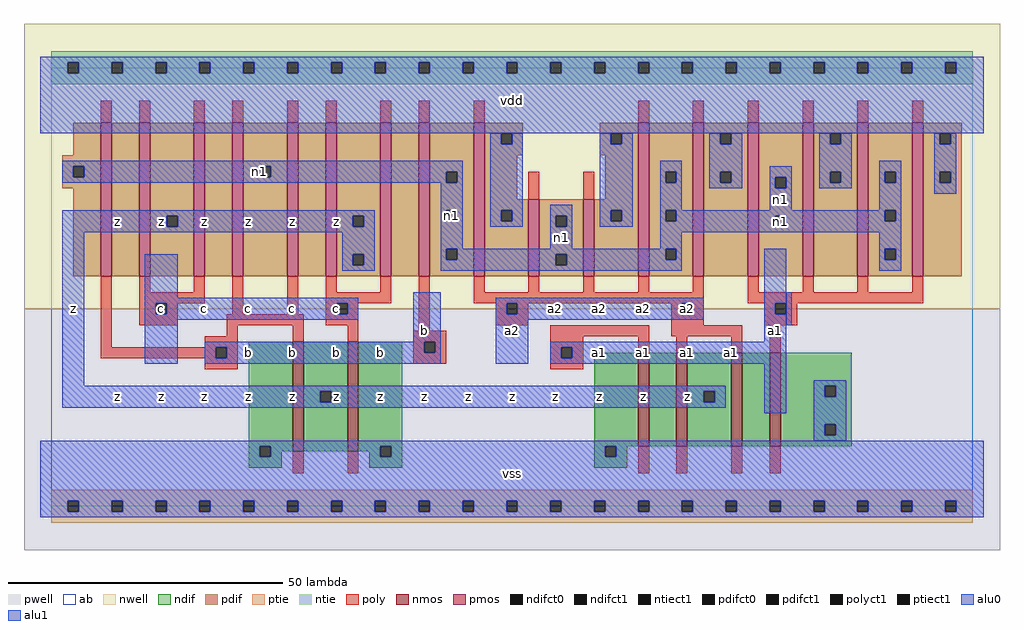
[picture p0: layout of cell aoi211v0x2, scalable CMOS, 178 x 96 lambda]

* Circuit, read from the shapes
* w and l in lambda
.subckt aoi211v0x2 a1 a2 b c n1 vdd vss z
M1 z b vss vss nfet w=20 l=2
M2 vss c z vss nfet w=20 l=2
M3 n2 a1 vss vss nfet w=17 l=2
M4 z a2 n2 vss nfet w=17 l=2
M5 n3 a2 z vss nfet w=17 l=2
M6 vss a1 n3 vss nfet w=17 l=2
M7 n4 b n1 vdd pfet w=28 l=2
M8 z c n4 vdd pfet w=28 l=2
M9 n5 c z vdd pfet w=28 l=2
M10 n1 b n5 vdd pfet w=28 l=2
M11 n6 b n1 vdd pfet w=28 l=2
M12 z c n6 vdd pfet w=28 l=2
M13 n7 c z vdd pfet w=28 l=2
M14 n1 b n7 vdd pfet w=28 l=2
M15 vdd a2 n1 vdd pfet w=28 l=2 m=3
M16 n1 a2 vdd vdd pfet w=14 l=2 m=2
M17 n1 a1 vdd vdd pfet w=28 l=2 m=4
.ends

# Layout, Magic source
magic
tech scmos
<< ab >>
rect 0 0 168 80
<< nwell >>
rect -5 36 173 88
<< pwell >>
rect -5 -8 173 36
<< poly >>
rect 9 70 11 74
rect 16 70 18 74
rect 26 70 28 74
rect 33 70 35 74
rect 43 70 45 74
rect 50 70 52 74
rect 60 70 62 74
rect 67 70 69 74
rect 77 70 79 74
rect 107 70 109 74
rect 117 70 119 74
rect 127 70 129 74
rect 137 70 139 74
rect 147 70 149 74
rect 157 70 159 74
rect 87 56 89 61
rect 97 56 99 61
rect 9 29 11 42
rect 16 39 18 42
rect 26 39 28 42
rect 16 37 28 39
rect 16 35 19 37
rect 21 35 23 37
rect 33 35 35 42
rect 43 35 45 42
rect 50 39 52 42
rect 60 39 62 42
rect 50 37 62 39
rect 50 35 52 37
rect 54 35 56 37
rect 16 33 23 35
rect 32 33 46 35
rect 50 33 56 35
rect 32 31 34 33
rect 28 29 34 31
rect 44 30 46 33
rect 54 30 56 33
rect 67 32 69 42
rect 77 39 79 42
rect 87 39 89 42
rect 97 39 99 42
rect 107 39 109 42
rect 117 39 119 42
rect 77 37 119 39
rect 127 39 129 42
rect 137 39 139 42
rect 147 39 149 42
rect 157 39 159 42
rect 127 37 159 39
rect 81 35 83 37
rect 85 35 87 37
rect 81 33 87 35
rect 113 35 115 37
rect 117 35 119 37
rect 113 33 119 35
rect 130 35 132 37
rect 134 35 136 37
rect 130 33 136 35
rect 66 30 72 32
rect 9 27 30 29
rect 32 27 34 29
rect 28 25 34 27
rect 66 28 68 30
rect 70 28 72 30
rect 66 26 72 28
rect 91 31 109 33
rect 113 31 126 33
rect 91 29 97 31
rect 91 27 93 29
rect 95 27 97 29
rect 107 28 109 31
rect 114 28 116 31
rect 124 28 126 31
rect 131 28 133 33
rect 91 25 97 27
rect 44 6 46 10
rect 54 6 56 10
rect 107 6 109 11
rect 114 6 116 11
rect 124 6 126 11
rect 131 6 133 11
<< ndif >>
rect 36 11 44 30
rect 36 9 38 11
rect 40 10 44 11
rect 46 21 54 30
rect 46 19 49 21
rect 51 19 54 21
rect 46 10 54 19
rect 56 11 64 30
rect 56 10 60 11
rect 40 9 42 10
rect 36 7 42 9
rect 58 9 60 10
rect 62 9 64 11
rect 58 7 64 9
rect 99 11 107 28
rect 109 11 114 28
rect 116 21 124 28
rect 116 19 119 21
rect 121 19 124 21
rect 116 11 124 19
rect 126 11 131 28
rect 133 22 146 28
rect 133 20 141 22
rect 143 20 146 22
rect 133 15 146 20
rect 133 13 141 15
rect 143 13 146 15
rect 133 11 146 13
rect 99 9 101 11
rect 103 9 105 11
rect 99 7 105 9
<< pdif >>
rect 4 64 9 70
rect 2 62 9 64
rect 2 60 4 62
rect 6 60 9 62
rect 2 58 9 60
rect 4 42 9 58
rect 11 42 16 70
rect 18 53 26 70
rect 18 51 21 53
rect 23 51 26 53
rect 18 42 26 51
rect 28 42 33 70
rect 35 62 43 70
rect 35 60 38 62
rect 40 60 43 62
rect 35 42 43 60
rect 45 42 50 70
rect 52 53 60 70
rect 52 51 55 53
rect 57 51 60 53
rect 52 46 60 51
rect 52 44 55 46
rect 57 44 60 46
rect 52 42 60 44
rect 62 42 67 70
rect 69 61 77 70
rect 69 59 72 61
rect 74 59 77 61
rect 69 54 77 59
rect 69 52 72 54
rect 74 52 77 54
rect 69 47 77 52
rect 69 45 72 47
rect 74 45 77 47
rect 69 42 77 45
rect 79 68 86 70
rect 79 66 82 68
rect 84 66 86 68
rect 79 64 86 66
rect 100 68 107 70
rect 100 66 102 68
rect 104 66 107 68
rect 100 64 107 66
rect 79 56 85 64
rect 101 56 107 64
rect 79 54 87 56
rect 79 52 82 54
rect 84 52 87 54
rect 79 42 87 52
rect 89 53 97 56
rect 89 51 92 53
rect 94 51 97 53
rect 89 46 97 51
rect 89 44 92 46
rect 94 44 97 46
rect 89 42 97 44
rect 99 54 107 56
rect 99 52 102 54
rect 104 52 107 54
rect 99 42 107 52
rect 109 61 117 70
rect 109 59 112 61
rect 114 59 117 61
rect 109 54 117 59
rect 109 52 112 54
rect 114 52 117 54
rect 109 47 117 52
rect 109 45 112 47
rect 114 45 117 47
rect 109 42 117 45
rect 119 68 127 70
rect 119 66 122 68
rect 124 66 127 68
rect 119 61 127 66
rect 119 59 122 61
rect 124 59 127 61
rect 119 42 127 59
rect 129 60 137 70
rect 129 58 132 60
rect 134 58 137 60
rect 129 53 137 58
rect 129 51 132 53
rect 134 51 137 53
rect 129 42 137 51
rect 139 68 147 70
rect 139 66 142 68
rect 144 66 147 68
rect 139 61 147 66
rect 139 59 142 61
rect 144 59 147 61
rect 139 42 147 59
rect 149 61 157 70
rect 149 59 152 61
rect 154 59 157 61
rect 149 54 157 59
rect 149 52 152 54
rect 154 52 157 54
rect 149 47 157 52
rect 149 45 152 47
rect 154 45 157 47
rect 149 42 157 45
rect 159 68 166 70
rect 159 66 162 68
rect 164 66 166 68
rect 159 61 166 66
rect 159 59 162 61
rect 164 59 166 61
rect 159 42 166 59
<< alu1 >>
rect -2 81 170 82
rect -2 79 3 81
rect 5 79 11 81
rect 13 79 19 81
rect 21 79 27 81
rect 29 79 35 81
rect 37 79 43 81
rect 45 79 51 81
rect 53 79 59 81
rect 61 79 67 81
rect 69 79 75 81
rect 77 79 83 81
rect 85 79 91 81
rect 93 79 99 81
rect 101 79 107 81
rect 109 79 115 81
rect 117 79 123 81
rect 125 79 131 81
rect 133 79 139 81
rect 141 79 147 81
rect 149 79 155 81
rect 157 79 163 81
rect 165 79 170 81
rect -2 68 170 79
rect 2 53 59 54
rect 2 51 21 53
rect 23 51 55 53
rect 57 51 59 53
rect 2 50 59 51
rect 2 22 6 50
rect 53 46 59 50
rect 17 38 23 46
rect 53 44 55 46
rect 57 44 59 46
rect 53 43 59 44
rect 17 37 56 38
rect 17 35 19 37
rect 21 35 52 37
rect 54 35 56 37
rect 17 34 56 35
rect 17 26 23 34
rect 66 30 71 39
rect 28 29 68 30
rect 28 27 30 29
rect 32 28 68 29
rect 70 28 71 30
rect 32 27 71 28
rect 28 26 71 27
rect 81 37 119 38
rect 81 35 83 37
rect 85 35 115 37
rect 117 35 119 37
rect 81 34 119 35
rect 130 37 134 47
rect 130 35 132 37
rect 81 26 87 34
rect 130 30 134 35
rect 91 29 134 30
rect 91 27 93 29
rect 95 27 134 29
rect 91 26 134 27
rect 2 21 123 22
rect 2 19 49 21
rect 51 19 119 21
rect 121 19 123 21
rect 2 18 123 19
rect 130 17 134 26
rect -2 11 170 12
rect -2 9 38 11
rect 40 9 60 11
rect 62 9 101 11
rect 103 9 170 11
rect -2 1 170 9
rect -2 -1 3 1
rect 5 -1 11 1
rect 13 -1 19 1
rect 21 -1 27 1
rect 29 -1 35 1
rect 37 -1 43 1
rect 45 -1 51 1
rect 53 -1 59 1
rect 61 -1 67 1
rect 69 -1 75 1
rect 77 -1 83 1
rect 85 -1 91 1
rect 93 -1 99 1
rect 101 -1 107 1
rect 109 -1 115 1
rect 117 -1 123 1
rect 125 -1 131 1
rect 133 -1 139 1
rect 141 -1 147 1
rect 149 -1 155 1
rect 157 -1 163 1
rect 165 -1 170 1
rect -2 -2 170 -1
<< ptie >>
rect 0 1 168 3
rect 0 -1 3 1
rect 5 -1 11 1
rect 13 -1 19 1
rect 21 -1 27 1
rect 29 -1 35 1
rect 37 -1 43 1
rect 45 -1 51 1
rect 53 -1 59 1
rect 61 -1 67 1
rect 69 -1 75 1
rect 77 -1 83 1
rect 85 -1 91 1
rect 93 -1 99 1
rect 101 -1 107 1
rect 109 -1 115 1
rect 117 -1 123 1
rect 125 -1 131 1
rect 133 -1 139 1
rect 141 -1 147 1
rect 149 -1 155 1
rect 157 -1 163 1
rect 165 -1 168 1
rect 0 -3 168 -1
<< ntie >>
rect 0 81 168 83
rect 0 79 3 81
rect 5 79 11 81
rect 13 79 19 81
rect 21 79 27 81
rect 29 79 35 81
rect 37 79 43 81
rect 45 79 51 81
rect 53 79 59 81
rect 61 79 67 81
rect 69 79 75 81
rect 77 79 83 81
rect 85 79 91 81
rect 93 79 99 81
rect 101 79 107 81
rect 109 79 115 81
rect 117 79 123 81
rect 125 79 131 81
rect 133 79 139 81
rect 141 79 147 81
rect 149 79 155 81
rect 157 79 163 81
rect 165 79 168 81
rect 0 77 168 79
<< nmos >>
rect 44 10 46 30
rect 54 10 56 30
rect 107 11 109 28
rect 114 11 116 28
rect 124 11 126 28
rect 131 11 133 28
<< pmos >>
rect 9 42 11 70
rect 16 42 18 70
rect 26 42 28 70
rect 33 42 35 70
rect 43 42 45 70
rect 50 42 52 70
rect 60 42 62 70
rect 67 42 69 70
rect 77 42 79 70
rect 87 42 89 56
rect 97 42 99 56
rect 107 42 109 70
rect 117 42 119 70
rect 127 42 129 70
rect 137 42 139 70
rect 147 42 149 70
rect 157 42 159 70
<< polyct1 >>
rect 19 35 21 37
rect 52 35 54 37
rect 83 35 85 37
rect 115 35 117 37
rect 132 35 134 37
rect 30 27 32 29
rect 68 28 70 30
rect 93 27 95 29
<< ndifct0 >>
rect 141 20 143 22
rect 141 13 143 15
<< ndifct1 >>
rect 38 9 40 11
rect 49 19 51 21
rect 60 9 62 11
rect 119 19 121 21
rect 101 9 103 11
<< ntiect1 >>
rect 3 79 5 81
rect 11 79 13 81
rect 19 79 21 81
rect 27 79 29 81
rect 35 79 37 81
rect 43 79 45 81
rect 51 79 53 81
rect 59 79 61 81
rect 67 79 69 81
rect 75 79 77 81
rect 83 79 85 81
rect 91 79 93 81
rect 99 79 101 81
rect 107 79 109 81
rect 115 79 117 81
rect 123 79 125 81
rect 131 79 133 81
rect 139 79 141 81
rect 147 79 149 81
rect 155 79 157 81
rect 163 79 165 81
<< ptiect1 >>
rect 3 -1 5 1
rect 11 -1 13 1
rect 19 -1 21 1
rect 27 -1 29 1
rect 35 -1 37 1
rect 43 -1 45 1
rect 51 -1 53 1
rect 59 -1 61 1
rect 67 -1 69 1
rect 75 -1 77 1
rect 83 -1 85 1
rect 91 -1 93 1
rect 99 -1 101 1
rect 107 -1 109 1
rect 115 -1 117 1
rect 123 -1 125 1
rect 131 -1 133 1
rect 139 -1 141 1
rect 147 -1 149 1
rect 155 -1 157 1
rect 163 -1 165 1
<< pdifct0 >>
rect 4 60 6 62
rect 38 60 40 62
rect 72 59 74 61
rect 72 52 74 54
rect 72 45 74 47
rect 82 66 84 68
rect 102 66 104 68
rect 82 52 84 54
rect 92 51 94 53
rect 92 44 94 46
rect 102 52 104 54
rect 112 59 114 61
rect 112 52 114 54
rect 112 45 114 47
rect 122 66 124 68
rect 122 59 124 61
rect 132 58 134 60
rect 132 51 134 53
rect 142 66 144 68
rect 142 59 144 61
rect 152 59 154 61
rect 152 52 154 54
rect 152 45 154 47
rect 162 66 164 68
rect 162 59 164 61
<< pdifct1 >>
rect 21 51 23 53
rect 55 51 57 53
rect 55 44 57 46
<< alu0 >>
rect 80 66 82 68
rect 84 66 86 68
rect 2 62 75 63
rect 2 60 4 62
rect 6 60 38 62
rect 40 61 75 62
rect 40 60 72 61
rect 2 59 72 60
rect 74 59 75 61
rect 71 54 75 59
rect 71 52 72 54
rect 74 52 75 54
rect 71 47 75 52
rect 80 54 86 66
rect 100 66 102 68
rect 104 66 106 68
rect 80 52 82 54
rect 84 52 86 54
rect 80 51 86 52
rect 91 53 95 55
rect 91 51 92 53
rect 94 51 95 53
rect 100 54 106 66
rect 120 66 122 68
rect 124 66 126 68
rect 100 52 102 54
rect 104 52 106 54
rect 100 51 106 52
rect 111 61 115 63
rect 111 59 112 61
rect 114 59 115 61
rect 111 54 115 59
rect 120 61 126 66
rect 140 66 142 68
rect 144 66 146 68
rect 120 59 122 61
rect 124 59 126 61
rect 120 58 126 59
rect 131 60 135 62
rect 131 58 132 60
rect 134 58 135 60
rect 140 61 146 66
rect 161 66 162 68
rect 164 66 165 68
rect 140 59 142 61
rect 144 59 146 61
rect 140 58 146 59
rect 151 61 155 63
rect 151 59 152 61
rect 154 59 155 61
rect 131 54 135 58
rect 151 54 155 59
rect 161 61 165 66
rect 161 59 162 61
rect 164 59 165 61
rect 161 57 165 59
rect 111 52 112 54
rect 114 53 152 54
rect 114 52 132 53
rect 111 51 132 52
rect 134 52 152 53
rect 154 52 155 54
rect 134 51 155 52
rect 91 47 95 51
rect 111 50 155 51
rect 111 47 115 50
rect 151 47 155 50
rect 71 45 72 47
rect 74 46 112 47
rect 74 45 92 46
rect 71 44 92 45
rect 94 45 112 46
rect 114 45 115 47
rect 94 44 115 45
rect 71 43 115 44
rect 151 45 152 47
rect 154 45 155 47
rect 151 43 155 45
rect 134 33 135 39
rect 139 22 145 23
rect 139 20 141 22
rect 143 20 145 22
rect 139 15 145 20
rect 139 13 141 15
rect 143 13 145 15
rect 139 12 145 13
<< labels >>
rlabel alu0 93 49 93 49 6 n1
rlabel pdifct0 73 53 73 53 6 n1
rlabel alu0 38 61 38 61 6 n1
rlabel alu0 133 56 133 56 6 n1
rlabel pdifct0 133 52 133 52 6 n1
rlabel alu1 28 20 28 20 6 z
rlabel alu1 20 20 20 20 6 z
rlabel alu1 12 20 12 20 6 z
rlabel alu1 28 36 28 36 6 c
rlabel polyct1 20 36 20 36 6 c
rlabel alu1 4 36 4 36 6 z
rlabel alu1 28 52 28 52 6 z
rlabel alu1 20 52 20 52 6 z
rlabel alu1 12 52 12 52 6 z
rlabel alu1 60 28 60 28 6 b
rlabel alu1 60 20 60 20 6 z
rlabel alu1 52 28 52 28 6 b
rlabel alu1 52 20 52 20 6 z
rlabel alu1 44 28 44 28 6 b
rlabel alu1 44 20 44 20 6 z
rlabel alu1 36 28 36 28 6 b
rlabel alu1 36 20 36 20 6 z
rlabel alu1 52 36 52 36 6 c
rlabel alu1 44 36 44 36 6 c
rlabel alu1 36 36 36 36 6 c
rlabel alu1 52 52 52 52 6 z
rlabel alu1 44 52 44 52 6 z
rlabel alu1 36 52 36 52 6 z
rlabel alu1 84 6 84 6 6 vss
rlabel alu1 68 20 68 20 6 z
rlabel alu1 92 20 92 20 6 z
rlabel alu1 84 20 84 20 6 z
rlabel alu1 76 20 76 20 6 z
rlabel alu1 84 32 84 32 6 a2
rlabel alu1 68 32 68 32 6 b
rlabel alu1 92 36 92 36 6 a2
rlabel alu1 84 74 84 74 6 vdd
rlabel alu1 100 28 100 28 6 a1
rlabel alu1 100 20 100 20 6 z
rlabel alu1 124 28 124 28 6 a1
rlabel alu1 116 28 116 28 6 a1
rlabel alu1 116 20 116 20 6 z
rlabel alu1 108 28 108 28 6 a1
rlabel alu1 108 20 108 20 6 z
rlabel alu1 132 32 132 32 6 a1
rlabel alu1 100 36 100 36 6 a2
rlabel polyct1 116 36 116 36 6 a2
rlabel alu1 108 36 108 36 6 a2
<< end >>
